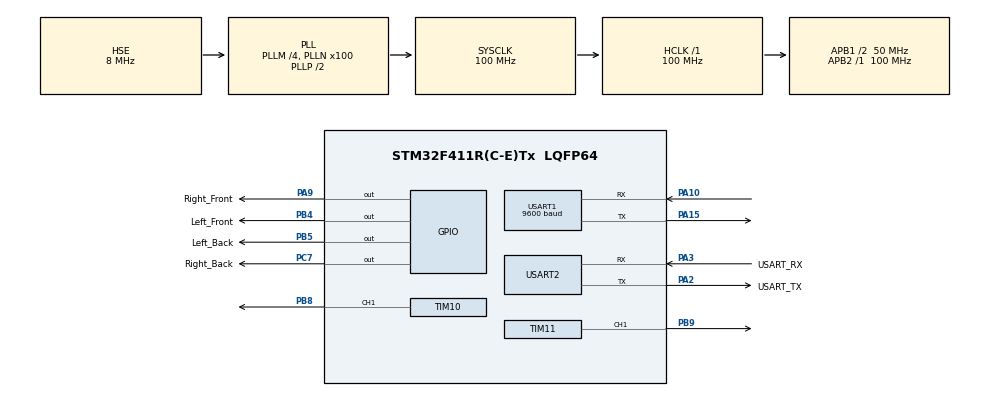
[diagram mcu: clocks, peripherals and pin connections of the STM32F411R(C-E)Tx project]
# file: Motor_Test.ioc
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Dma.Request0=USART2_RX
Dma.Request1=USART1_RX
Dma.USART1_RX.1.Direction=DMA_PERIPH_TO_MEMORY
Dma.USART1_RX.1.FIFOMode=DMA_FIFOMODE_DISABLE
Dma.USART1_RX.1.Instance=DMA2_Stream2
Dma.USART1_RX.1.MemDataAlignment=DMA_MDATAALIGN_BYTE
Dma.USART1_RX.1.MemInc=DMA_MINC_ENABLE
Dma.USART1_RX.1.Mode=DMA_CIRCULAR
Dma.USART1_RX.1.PeriphDataAlignment=DMA_PDATAALIGN_BYTE
Dma.USART1_RX.1.PeriphInc=DMA_PINC_DISABLE
Dma.USART1_RX.1.Priority=DMA_PRIORITY_LOW
Dma.USART2_RX.0.Direction=DMA_PERIPH_TO_MEMORY
Dma.USART2_RX.0.FIFOMode=DMA_FIFOMODE_DISABLE
Dma.USART2_RX.0.Instance=DMA1_Stream5
Dma.USART2_RX.0.MemDataAlignment=DMA_MDATAALIGN_BYTE
Dma.USART2_RX.0.MemInc=DMA_MINC_ENABLE
Dma.USART2_RX.0.Mode=DMA_CIRCULAR
Dma.USART2_RX.0.PeriphDataAlignment=DMA_PDATAALIGN_BYTE
Dma.USART2_RX.0.PeriphInc=DMA_PINC_DISABLE
Dma.USART2_RX.0.Priority=DMA_PRIORITY_LOW
Mcu.Family=STM32F4
Mcu.Name=STM32F411R(C-E)Tx
Mcu.Package=LQFP64
NVIC.DMA1_Stream5_IRQn=true\:0\:0\:false\:false\:true\:false\:true\:true
NVIC.DMA2_Stream2_IRQn=true\:0\:0\:false\:false\:true\:false\:true\:true
NVIC.PriorityGroup=NVIC_PRIORITYGROUP_0
PA10.Mode=Asynchronous
PA10.Signal=USART1_RX
PA13.GPIO_Label=TMS
PA13.Mode=Serial_Wire
PA13.Signal=SYS_JTMS-SWDIO
PA14.GPIO_Label=TCK
PA14.Mode=Serial_Wire
PA14.Signal=SYS_JTCK-SWCLK
PA15.Mode=Asynchronous
PA15.Signal=USART1_TX
PA2.GPIO_Label=USART_TX
PA2.Mode=Asynchronous
PA2.Signal=USART2_TX
PA3.GPIO_Label=USART_RX
PA3.Mode=Asynchronous
PA3.Signal=USART2_RX
PA9.GPIO_Label=Right_Front
PA9.Signal=GPIO_Output
PB3.GPIO_Label=SWO
PB3.Signal=SYS_JTDO-SWO
PB4.GPIO_Label=Left_Front
PB4.Signal=GPIO_Output
PB5.GPIO_Label=Left_Back
PB5.Signal=GPIO_Output
PB8.Signal=S_TIM10_CH1
PB9.Signal=S_TIM11_CH1
PC14-OSC32_IN.Mode=LSE-External-Oscillator
PC14-OSC32_IN.Signal=RCC_OSC32_IN
PC15-OSC32_OUT.Mode=LSE-External-Oscillator
PC15-OSC32_OUT.Signal=RCC_OSC32_OUT
PC7.GPIO_Label=Right_Back
PC7.Signal=GPIO_Output
PH0\ -\ OSC_IN.Mode=HSE-External-Oscillator
PH0\ -\ OSC_IN.Signal=RCC_OSC_IN
PH1\ -\ OSC_OUT.Mode=HSE-External-Oscillator
PH1\ -\ OSC_OUT.Signal=RCC_OSC_OUT
ProjectManager.HeapSize=0x200
ProjectManager.StackSize=0x400
ProjectManager.TargetToolchain=STM32CubeIDE
RCC.48MHZClocksFreq_Value=50000000
RCC.AHBFreq_Value=100000000
RCC.APB1CLKDivider=RCC_HCLK_DIV2
RCC.APB1Freq_Value=50000000
RCC.APB1TimFreq_Value=100000000
RCC.APB2Freq_Value=100000000
RCC.APB2TimFreq_Value=100000000
RCC.CortexFreq_Value=100000000
RCC.FLatency-AdvancedSettings=FLASH_LATENCY_3
RCC.HCLKFreq_Value=100000000
RCC.HSE_VALUE=8000000
RCC.HSI_VALUE=16000000
RCC.PLLM=4
RCC.PLLN=100
RCC.PLLSourceVirtual=RCC_PLLSOURCE_HSE
RCC.SYSCLKFreq_VALUE=100000000
RCC.SYSCLKSource=RCC_SYSCLKSOURCE_PLLCLK
RCC.VCOOutputFreq_Value=200000000
SH.S_TIM10_CH1.0=TIM10_CH1,PWM Generation1 CH1
SH.S_TIM11_CH1.0=TIM11_CH1,PWM Generation1 CH1
TIM10.AutoReloadPreload=TIM_AUTORELOAD_PRELOAD_ENABLE
TIM10.Channel=TIM_CHANNEL_1
TIM10.Period=10000-1
TIM10.Prescaler=10000-1
TIM10.Pulse=0
TIM11.AutoReloadPreload=TIM_AUTORELOAD_PRELOAD_ENABLE
TIM11.Channel=TIM_CHANNEL_1
TIM11.Period=10000-1
TIM11.Prescaler=10000-1
TIM11.Pulse=0
USART1.BaudRate=9600
USART1.VirtualMode=VM_ASYNC
USART2.VirtualMode=VM_ASYNC
VP_TIM10_VS_ClockSourceINT.Mode=Enable_Timer
VP_TIM11_VS_ClockSourceINT.Mode=Enable_Timer
board=NUCLEO-F411RE

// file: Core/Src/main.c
/* USER CODE BEGIN Header */
/**
  ******************************************************************************
  * @file           : main.c
  * @brief          : Main program body
  ******************************************************************************
  * @attention
  *
  * Copyright (c) 2023 STMicroelectronics.
  * All rights reserved.
  *
  * This software is licensed under terms that can be found in the LICENSE file
  * in the root directory of this software component.
  * If no LICENSE file comes with this software, it is provided AS-IS.
  *
  ******************************************************************************
  */
/* USER CODE END Header */
#include "main.h"
#include "dma.h"
#include "tim.h"
#include "usart.h"
#include "gpio.h"

/* USER CODE BEGIN Includes */
#include <stdio.h>
/* USER CODE END Includes */

/* USER CODE BEGIN PV */
char buf[1]; // DMA buffer

/* USER CODE END PV */

void SystemClock_Config(void);
/* USER CODE BEGIN PFP */

int __io_putchar(int ch)
{
	HAL_UART_Transmit(&huart2, &ch, 1, 50);
	return ch;
}

int __io_getchar(void)
{
	int ch; // buf?�� ???��?���? ?��?��?��, ch?��?�� ???��
	while(1)
	{
		if(HAL_UART_Receive(&huart2, &ch, 1, 50) == HAL_OK)
			break;
	}
	HAL_UART_Transmit(&huart2, &ch, 1, 50);

	return ch;
}

void Forward()
{
	HAL_GPIO_WritePin(Right_Front_GPIO_Port, Right_Front_Pin, 1);
	HAL_GPIO_WritePin(Right_Back_GPIO_Port, Right_Back_Pin, 0);
	HAL_GPIO_WritePin(Left_Front_GPIO_Port, Left_Front_Pin, 0);
	HAL_GPIO_WritePin(Left_Back_GPIO_Port, Left_Back_Pin, 1);
}

void Backward()
{
	HAL_GPIO_WritePin(Right_Front_GPIO_Port, Right_Front_Pin, 0);
	HAL_GPIO_WritePin(Right_Back_GPIO_Port, Right_Back_Pin, 1);
	HAL_GPIO_WritePin(Left_Front_GPIO_Port, Left_Front_Pin, 1);
	HAL_GPIO_WritePin(Left_Back_GPIO_Port, Left_Back_Pin, 0);
}

//void Right()
//{
//	HAL_GPIO_WritePin(Right_Front_GPIO_Port, Right_Front_Pin, 0);
//	HAL_GPIO_WritePin(Right_Back_GPIO_Port, Right_Back_Pin, 1);
//	HAL_GPIO_WritePin(Left_Front_GPIO_Port, Left_Front_Pin, 0);
//	HAL_GPIO_WritePin(Left_Back_GPIO_Port, Left_Back_Pin, 1);
//}
//
//void Left()
//{
//	HAL_GPIO_WritePin(Right_Front_GPIO_Port, Right_Front_Pin, 1);
//	HAL_GPIO_WritePin(Right_Back_GPIO_Port, Right_Back_Pin, 0);
//	HAL_GPIO_WritePin(Left_Front_GPIO_Port, Left_Front_Pin, 1);
//	HAL_GPIO_WritePin(Left_Back_GPIO_Port, Left_Back_Pin, 0);
//}

//void HAL_UART_RxCpltCallback(UART_HandleTypeDef *huart)
//{
//  HAL_UART_Receive_IT(&huart1, buf, sizeof(buf));
//  HAL_UART_Receive_IT(&huart2, buf, sizeof(buf));
//}

/* USER CODE END PFP */

int main(void)
{

  /* MCU Configuration--------------------------------------------------------*/

  /* Reset of all peripherals, Initializes the Flash interface and the Systick. */
  HAL_Init();

  /* Configure the system clock */
  SystemClock_Config();

  /* Initialize all configured peripherals */
  MX_GPIO_Init();
  MX_DMA_Init();
  MX_USART2_UART_Init();
  MX_TIM10_Init();
  MX_TIM11_Init();
  MX_USART1_UART_Init();
  /* USER CODE BEGIN 2 */
  printf("Program Start!\r\n");
  HAL_TIM_PWM_Start(&htim10, TIM_CHANNEL_1); // Left
  HAL_TIM_PWM_Start(&htim11, TIM_CHANNEL_1); // Right
//  setbuf(stdin, NULL);

//  HAL_UART_Receive(&huart2, &buf[1], 1, 50);
//  HAL_UART_Transmit(&huart2, &buf[1], 1, 50);
//  HAL_UART_Receive_IT(&huart1, &buf, sizeof(buf));
//  HAL_UART_Receive_IT(&huart2, &buf, sizeof(buf));

  HAL_UART_Receive_DMA(&huart1, buf, sizeof(buf));
  HAL_UART_Receive_DMA(&huart2, buf, sizeof(buf));
//  HAL_UART_Transmit_IT(&huart2, &buf_B, sizeof(buf_B));
//  HAL_UART_Receive_DMA(&huart2, &buf_P, sizeof(buf_P));
//  HAL_UART_Transmit_DMA(&huart2, &buf_P, sizeof(buf_P));
  /* USER CODE END 2 */

  /* Infinite loop */
  while (1)
  {

    /* USER CODE BEGIN 3 */
//		printf("Press Direction key and [Enter]....\r\n"); // ?��?�� ?���? ?��?��?��?���? ?��롬포?�� ?��보내 �?.
//		scanf("%c", &i);

	if(buf[0] != 0)
	{
		switch(buf[0])
		{
		case 'w' :
			Forward();
			htim10.Instance->CCR1 = 10000; // Left
			htim11.Instance->CCR1 = 10000; // Right
			printf("Forward \r\n");
			break;
		case 's' :
			Backward();
			htim10.Instance->CCR1 = 10000; // Left
			htim11.Instance->CCR1 = 10000; // Right
			printf("Backward \r\n");
			break;
		case 'a' :
			Forward();
			htim10.Instance->CCR1 = 7500; // Left
			htim11.Instance->CCR1 = 10000; // Right
			printf("Right \r\n");
			break;
		case 'd' :
			Forward();
			htim10.Instance->CCR1 = 10000; // Left
			htim11.Instance->CCR1 = 7500; // Right
			printf("Left \r\n");
			break;
		default :
			printf("Error \r\n");
			break;
		}
	}
	buf[0] = 0;
  	HAL_Delay(100);
  }
  /* USER CODE END 3 */
}

void SystemClock_Config(void)
{
  RCC_OscInitTypeDef RCC_OscInitStruct = {0};
  RCC_ClkInitTypeDef RCC_ClkInitStruct = {0};

  /** Configure the main internal regulator output voltage
  */
  __HAL_RCC_PWR_CLK_ENABLE();
  __HAL_PWR_VOLTAGESCALING_CONFIG(PWR_REGULATOR_VOLTAGE_SCALE1);

  /** Initializes the RCC Oscillators according to the specified parameters
  * in the RCC_OscInitTypeDef structure.
  */
  RCC_OscInitStruct.OscillatorType = RCC_OSCILLATORTYPE_HSE;
  RCC_OscInitStruct.HSEState = RCC_HSE_ON;
  RCC_OscInitStruct.PLL.PLLState = RCC_PLL_ON;
  RCC_OscInitStruct.PLL.PLLSource = RCC_PLLSOURCE_HSE;
  RCC_OscInitStruct.PLL.PLLM = 4;
  RCC_OscInitStruct.PLL.PLLN = 100;
  RCC_OscInitStruct.PLL.PLLP = RCC_PLLP_DIV2;
  RCC_OscInitStruct.PLL.PLLQ = 4;
  if (HAL_RCC_OscConfig(&RCC_OscInitStruct) != HAL_OK)
  {
    Error_Handler();
  }

  /** Initializes the CPU, AHB and APB buses clocks
  */
  RCC_ClkInitStruct.ClockType = RCC_CLOCKTYPE_HCLK|RCC_CLOCKTYPE_SYSCLK
                              |RCC_CLOCKTYPE_PCLK1|RCC_CLOCKTYPE_PCLK2;
  RCC_ClkInitStruct.SYSCLKSource = RCC_SYSCLKSOURCE_PLLCLK;
  RCC_ClkInitStruct.AHBCLKDivider = RCC_SYSCLK_DIV1;
  RCC_ClkInitStruct.APB1CLKDivider = RCC_HCLK_DIV2;
  RCC_ClkInitStruct.APB2CLKDivider = RCC_HCLK_DIV1;

  if (HAL_RCC_ClockConfig(&RCC_ClkInitStruct, FLASH_LATENCY_3) != HAL_OK)
  {
    Error_Handler();
  }
}

void Error_Handler(void)
{
  __disable_irq();
  while (1)
  {
  }
}
